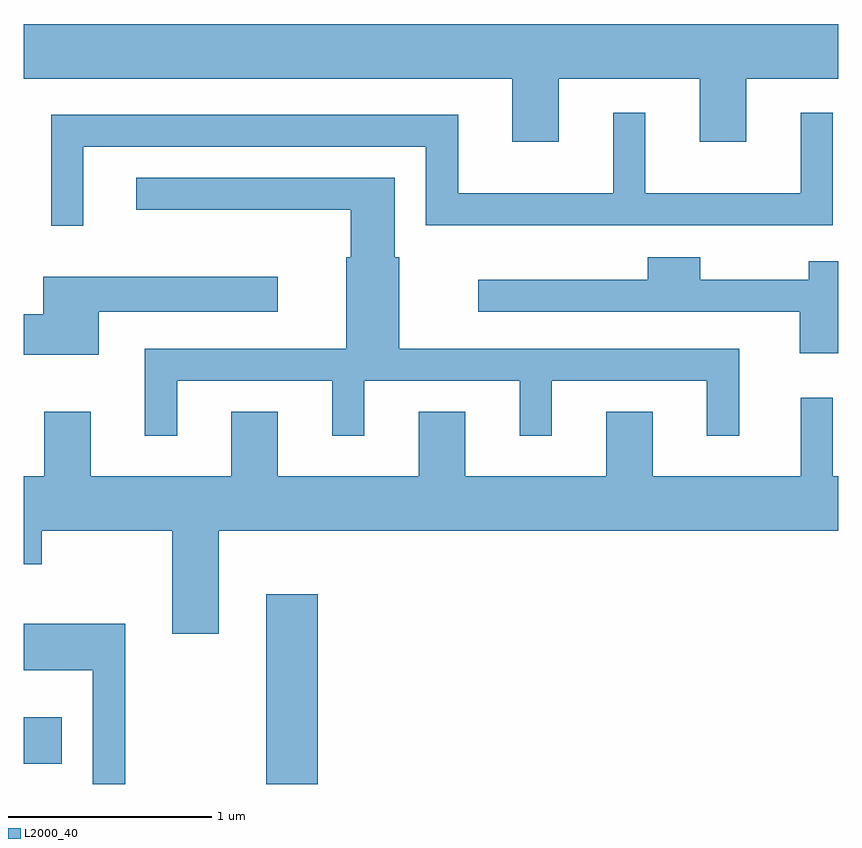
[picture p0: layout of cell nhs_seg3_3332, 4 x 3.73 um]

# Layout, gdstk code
import gdstk
lib = gdstk.Library(unit=1e-6, precision=1e-09)
def R(c, l, rs):  # rectangles x0, y0, x1, y1
    for r in rs: c.add(gdstk.rectangle(r[:2], r[2:], *l))
def P(c, l, *ps):  # polygons
    for p in ps: c.add(gdstk.Polygon(p, *l))
L2000_40 = (2000, 40)

nhs_seg3_3332 = lib.new_cell('nhs_seg3_3332')
R(nhs_seg3_3332, L2000_40, [(284.801,1115.892,285.054,1116.824), (283.611,1115.991,283.799,1116.219)])
P(nhs_seg3_3332, L2000_40, [(286.239,1119.356),(286.931,1119.356),(286.931,1119.046),(287.159,1119.046),(287.159,1119.356),(287.611,1119.356),(287.611,1119.624),(283.611,1119.624),(283.611,1119.356),(286.011,1119.356),(286.011,1119.046),(286.239,1119.046)],
  [(283.904,1119.021),(285.586,1119.021),(285.586,1118.636),(287.584,1118.636),(287.584,1119.188),(287.426,1119.188),(287.426,1118.794),(286.664,1118.794),(286.664,1119.188),(286.506,1119.188),(286.506,1118.794),(285.744,1118.794),(285.744,1119.179),(283.746,1119.179),(283.746,1118.633),(283.904,1118.633)],
  [(284.364,1117.871),(285.126,1117.871),(285.126,1117.603),(285.284,1117.603),(285.284,1117.871),(286.046,1117.871),(286.046,1117.603),(286.204,1117.603),(286.204,1117.871),(286.966,1117.871),(286.966,1117.603),(287.124,1117.603),(287.124,1118.029),(285.454,1118.029),(285.454,1118.479),(285.434,1118.479),(285.434,1118.869),(284.163,1118.869),(284.163,1118.711),(285.216,1118.711),(285.216,1118.479),(285.196,1118.479),(285.196,1118.029),(284.206,1118.029),(284.206,1117.603),(284.364,1117.603)],
  [(287.611,1118.459),(287.466,1118.459),(287.466,1118.369),(286.934,1118.369),(286.934,1118.479),(286.676,1118.479),(286.676,1118.369),(285.843,1118.369),(285.843,1118.211),(287.421,1118.211),(287.421,1118.006),(287.611,1118.006)],
  [(283.979,1118.211),(284.859,1118.211),(284.859,1118.384),(283.706,1118.384),(283.706,1118.199),(283.611,1118.199),(283.611,1118.001),(283.979,1118.001)],
  [(284.569,1117.136),(287.611,1117.136),(287.611,1117.404),(287.584,1117.404),(287.584,1117.788),(287.426,1117.788),(287.426,1117.404),(286.699,1117.404),(286.699,1117.719),(286.471,1117.719),(286.471,1117.404),(285.779,1117.404),(285.779,1117.719),(285.551,1117.719),(285.551,1117.404),(284.859,1117.404),(284.859,1117.719),(284.631,1117.719),(284.631,1117.404),(283.939,1117.404),(283.939,1117.719),(283.711,1117.719),(283.711,1117.404),(283.611,1117.404),(283.611,1116.971),(283.699,1116.971),(283.699,1117.136),(284.341,1117.136),(284.341,1116.631),(284.569,1116.631)],
  [(284.109,1116.679),(283.611,1116.679),(283.611,1116.451),(283.951,1116.451),(283.951,1115.892),(284.109,1115.892)])

lib.write_gds('nhs_seg3_3332.gds')
